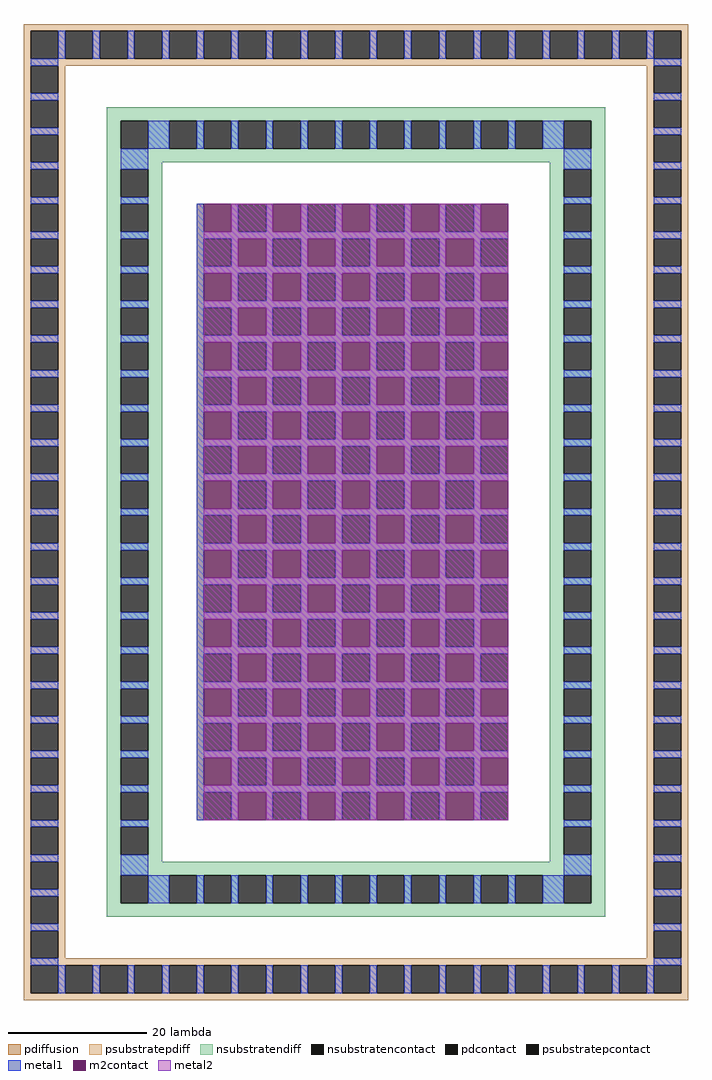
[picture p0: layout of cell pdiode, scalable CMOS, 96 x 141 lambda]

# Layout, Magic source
magic
tech scmos
<< pdiffusion >>
rect 32 102 38 106
rect 42 102 48 106
rect 52 102 58 106
rect 62 102 68 106
rect 72 102 77 106
rect 32 101 77 102
rect 32 97 33 101
rect 37 97 43 101
rect 47 97 53 101
rect 57 97 63 101
rect 67 97 73 101
rect 32 96 77 97
rect 32 92 38 96
rect 42 92 48 96
rect 52 92 58 96
rect 62 92 68 96
rect 72 92 77 96
rect 32 91 77 92
rect 32 87 33 91
rect 37 87 43 91
rect 47 87 53 91
rect 57 87 63 91
rect 67 87 73 91
rect 32 86 77 87
rect 32 82 38 86
rect 42 82 48 86
rect 52 82 58 86
rect 62 82 68 86
rect 72 82 77 86
rect 32 81 77 82
rect 32 77 33 81
rect 37 77 43 81
rect 47 77 53 81
rect 57 77 63 81
rect 67 77 73 81
rect 32 76 77 77
rect 32 72 38 76
rect 42 72 48 76
rect 52 72 58 76
rect 62 72 68 76
rect 72 72 77 76
rect 32 71 77 72
rect 32 67 33 71
rect 37 67 43 71
rect 47 67 53 71
rect 57 67 63 71
rect 67 67 73 71
rect 32 66 77 67
rect 32 62 38 66
rect 42 62 48 66
rect 52 62 58 66
rect 62 62 68 66
rect 72 62 77 66
rect 32 61 77 62
rect 32 57 33 61
rect 37 57 43 61
rect 47 57 53 61
rect 57 57 63 61
rect 67 57 73 61
rect 32 56 77 57
rect 32 52 38 56
rect 42 52 48 56
rect 52 52 58 56
rect 62 52 68 56
rect 72 52 77 56
rect 32 51 77 52
rect 32 47 33 51
rect 37 47 43 51
rect 47 47 53 51
rect 57 47 63 51
rect 67 47 73 51
rect 32 46 77 47
rect 32 42 38 46
rect 42 42 48 46
rect 52 42 58 46
rect 62 42 68 46
rect 72 42 77 46
rect 32 41 77 42
rect 32 37 33 41
rect 37 37 43 41
rect 47 37 53 41
rect 57 37 63 41
rect 67 37 73 41
rect 32 36 77 37
rect 32 32 38 36
rect 42 32 48 36
rect 52 32 58 36
rect 62 32 68 36
rect 72 32 77 36
rect 32 31 77 32
rect 32 27 33 31
rect 37 27 43 31
rect 47 27 53 31
rect 57 27 63 31
rect 67 27 73 31
rect 32 26 77 27
rect 32 22 38 26
rect 42 22 48 26
rect 52 22 58 26
rect 62 22 68 26
rect 72 22 77 26
rect 32 21 77 22
rect 32 17 33 21
rect 37 17 43 21
rect 47 17 53 21
rect 57 17 63 21
rect 67 17 73 21
<< pdcontact >>
rect 38 102 42 106
rect 48 102 52 106
rect 58 102 62 106
rect 68 102 72 106
rect 33 97 37 101
rect 43 97 47 101
rect 53 97 57 101
rect 63 97 67 101
rect 73 97 77 101
rect 38 92 42 96
rect 48 92 52 96
rect 58 92 62 96
rect 68 92 72 96
rect 33 87 37 91
rect 43 87 47 91
rect 53 87 57 91
rect 63 87 67 91
rect 73 87 77 91
rect 38 82 42 86
rect 48 82 52 86
rect 58 82 62 86
rect 68 82 72 86
rect 33 77 37 81
rect 43 77 47 81
rect 53 77 57 81
rect 63 77 67 81
rect 73 77 77 81
rect 38 72 42 76
rect 48 72 52 76
rect 58 72 62 76
rect 68 72 72 76
rect 33 67 37 71
rect 43 67 47 71
rect 53 67 57 71
rect 63 67 67 71
rect 73 67 77 71
rect 38 62 42 66
rect 48 62 52 66
rect 58 62 62 66
rect 68 62 72 66
rect 33 57 37 61
rect 43 57 47 61
rect 53 57 57 61
rect 63 57 67 61
rect 73 57 77 61
rect 38 52 42 56
rect 48 52 52 56
rect 58 52 62 56
rect 68 52 72 56
rect 33 47 37 51
rect 43 47 47 51
rect 53 47 57 51
rect 63 47 67 51
rect 73 47 77 51
rect 38 42 42 46
rect 48 42 52 46
rect 58 42 62 46
rect 68 42 72 46
rect 33 37 37 41
rect 43 37 47 41
rect 53 37 57 41
rect 63 37 67 41
rect 73 37 77 41
rect 38 32 42 36
rect 48 32 52 36
rect 58 32 62 36
rect 68 32 72 36
rect 33 27 37 31
rect 43 27 47 31
rect 53 27 57 31
rect 63 27 67 31
rect 73 27 77 31
rect 38 22 42 26
rect 48 22 52 26
rect 58 22 62 26
rect 68 22 72 26
rect 33 17 37 21
rect 43 17 47 21
rect 53 17 57 21
rect 63 17 67 21
rect 73 17 77 21
<< psubstratepdiff >>
rect 7 131 103 132
rect 7 127 8 131
rect 12 127 13 131
rect 17 127 18 131
rect 22 127 23 131
rect 27 127 28 131
rect 32 127 33 131
rect 37 127 38 131
rect 42 127 43 131
rect 47 127 48 131
rect 52 127 53 131
rect 57 127 58 131
rect 62 127 63 131
rect 67 127 68 131
rect 72 127 73 131
rect 77 127 78 131
rect 82 127 83 131
rect 87 127 88 131
rect 92 127 93 131
rect 97 127 98 131
rect 102 127 103 131
rect 7 126 103 127
rect 7 122 8 126
rect 12 122 13 126
rect 7 121 13 122
rect 7 117 8 121
rect 12 117 13 121
rect 97 122 98 126
rect 102 122 103 126
rect 97 121 103 122
rect 7 116 13 117
rect 7 112 8 116
rect 12 112 13 116
rect 7 111 13 112
rect 7 107 8 111
rect 12 107 13 111
rect 7 106 13 107
rect 7 102 8 106
rect 12 102 13 106
rect 7 101 13 102
rect 7 97 8 101
rect 12 97 13 101
rect 7 96 13 97
rect 7 92 8 96
rect 12 92 13 96
rect 7 91 13 92
rect 7 87 8 91
rect 12 87 13 91
rect 7 86 13 87
rect 7 82 8 86
rect 12 82 13 86
rect 7 81 13 82
rect 7 77 8 81
rect 12 77 13 81
rect 7 76 13 77
rect 7 72 8 76
rect 12 72 13 76
rect 7 71 13 72
rect 7 67 8 71
rect 12 67 13 71
rect 7 66 13 67
rect 7 62 8 66
rect 12 62 13 66
rect 7 61 13 62
rect 7 57 8 61
rect 12 57 13 61
rect 7 56 13 57
rect 7 52 8 56
rect 12 52 13 56
rect 7 51 13 52
rect 7 47 8 51
rect 12 47 13 51
rect 7 46 13 47
rect 7 42 8 46
rect 12 42 13 46
rect 7 41 13 42
rect 7 37 8 41
rect 12 37 13 41
rect 7 36 13 37
rect 7 32 8 36
rect 12 32 13 36
rect 7 31 13 32
rect 7 27 8 31
rect 12 27 13 31
rect 7 26 13 27
rect 7 22 8 26
rect 12 22 13 26
rect 7 21 13 22
rect 7 17 8 21
rect 12 17 13 21
rect 7 16 13 17
rect 7 12 8 16
rect 12 12 13 16
rect 7 11 13 12
rect 7 7 8 11
rect 12 7 13 11
rect 7 6 13 7
rect 7 2 8 6
rect 12 2 13 6
rect 97 117 98 121
rect 102 117 103 121
rect 97 116 103 117
rect 97 112 98 116
rect 102 112 103 116
rect 97 111 103 112
rect 97 107 98 111
rect 102 107 103 111
rect 97 106 103 107
rect 97 102 98 106
rect 102 102 103 106
rect 97 101 103 102
rect 97 97 98 101
rect 102 97 103 101
rect 97 96 103 97
rect 97 92 98 96
rect 102 92 103 96
rect 97 91 103 92
rect 97 87 98 91
rect 102 87 103 91
rect 97 86 103 87
rect 97 82 98 86
rect 102 82 103 86
rect 97 81 103 82
rect 97 77 98 81
rect 102 77 103 81
rect 97 76 103 77
rect 97 72 98 76
rect 102 72 103 76
rect 97 71 103 72
rect 97 67 98 71
rect 102 67 103 71
rect 97 66 103 67
rect 97 62 98 66
rect 102 62 103 66
rect 97 61 103 62
rect 97 57 98 61
rect 102 57 103 61
rect 97 56 103 57
rect 97 52 98 56
rect 102 52 103 56
rect 97 51 103 52
rect 97 47 98 51
rect 102 47 103 51
rect 97 46 103 47
rect 97 42 98 46
rect 102 42 103 46
rect 97 41 103 42
rect 97 37 98 41
rect 102 37 103 41
rect 97 36 103 37
rect 97 32 98 36
rect 102 32 103 36
rect 97 31 103 32
rect 97 27 98 31
rect 102 27 103 31
rect 97 26 103 27
rect 97 22 98 26
rect 102 22 103 26
rect 97 21 103 22
rect 97 17 98 21
rect 102 17 103 21
rect 97 16 103 17
rect 97 12 98 16
rect 102 12 103 16
rect 97 11 103 12
rect 97 7 98 11
rect 102 7 103 11
rect 97 6 103 7
rect 7 1 13 2
rect 7 -3 8 1
rect 12 -3 13 1
rect 97 2 98 6
rect 102 2 103 6
rect 97 1 103 2
rect 97 -3 98 1
rect 102 -3 103 1
rect 7 -4 103 -3
rect 7 -8 8 -4
rect 12 -8 13 -4
rect 17 -8 18 -4
rect 22 -8 23 -4
rect 27 -8 28 -4
rect 32 -8 33 -4
rect 37 -8 38 -4
rect 42 -8 43 -4
rect 47 -8 48 -4
rect 52 -8 53 -4
rect 57 -8 58 -4
rect 62 -8 63 -4
rect 67 -8 68 -4
rect 72 -8 73 -4
rect 77 -8 78 -4
rect 82 -8 83 -4
rect 87 -8 88 -4
rect 92 -8 93 -4
rect 97 -8 98 -4
rect 102 -8 103 -4
rect 7 -9 103 -8
<< nsubstratendiff >>
rect 19 118 91 120
rect 19 114 21 118
rect 25 114 28 118
rect 32 114 33 118
rect 37 114 38 118
rect 42 114 43 118
rect 47 114 48 118
rect 52 114 53 118
rect 57 114 58 118
rect 62 114 63 118
rect 67 114 68 118
rect 72 114 73 118
rect 77 114 78 118
rect 82 114 85 118
rect 89 114 91 118
rect 19 112 91 114
rect 19 111 27 112
rect 19 107 21 111
rect 25 107 27 111
rect 19 106 27 107
rect 83 111 91 112
rect 83 107 85 111
rect 89 107 91 111
rect 83 106 91 107
rect 19 102 21 106
rect 25 102 27 106
rect 19 101 27 102
rect 19 97 21 101
rect 25 97 27 101
rect 19 96 27 97
rect 19 92 21 96
rect 25 92 27 96
rect 19 91 27 92
rect 19 87 21 91
rect 25 87 27 91
rect 19 86 27 87
rect 19 82 21 86
rect 25 82 27 86
rect 19 81 27 82
rect 19 77 21 81
rect 25 77 27 81
rect 19 76 27 77
rect 19 72 21 76
rect 25 72 27 76
rect 19 71 27 72
rect 19 67 21 71
rect 25 67 27 71
rect 19 66 27 67
rect 19 62 21 66
rect 25 62 27 66
rect 19 61 27 62
rect 19 57 21 61
rect 25 57 27 61
rect 19 56 27 57
rect 19 52 21 56
rect 25 52 27 56
rect 19 51 27 52
rect 19 47 21 51
rect 25 47 27 51
rect 19 46 27 47
rect 19 42 21 46
rect 25 42 27 46
rect 19 41 27 42
rect 19 37 21 41
rect 25 37 27 41
rect 19 36 27 37
rect 19 32 21 36
rect 25 32 27 36
rect 19 31 27 32
rect 19 27 21 31
rect 25 27 27 31
rect 19 26 27 27
rect 19 22 21 26
rect 25 22 27 26
rect 19 21 27 22
rect 19 17 21 21
rect 25 17 27 21
rect 83 102 85 106
rect 89 102 91 106
rect 83 101 91 102
rect 83 97 85 101
rect 89 97 91 101
rect 83 96 91 97
rect 83 92 85 96
rect 89 92 91 96
rect 83 91 91 92
rect 83 87 85 91
rect 89 87 91 91
rect 83 86 91 87
rect 83 82 85 86
rect 89 82 91 86
rect 83 81 91 82
rect 83 77 85 81
rect 89 77 91 81
rect 83 76 91 77
rect 83 72 85 76
rect 89 72 91 76
rect 83 71 91 72
rect 83 67 85 71
rect 89 67 91 71
rect 83 66 91 67
rect 83 62 85 66
rect 89 62 91 66
rect 83 61 91 62
rect 83 57 85 61
rect 89 57 91 61
rect 83 56 91 57
rect 83 52 85 56
rect 89 52 91 56
rect 83 51 91 52
rect 83 47 85 51
rect 89 47 91 51
rect 83 46 91 47
rect 83 42 85 46
rect 89 42 91 46
rect 83 41 91 42
rect 83 37 85 41
rect 89 37 91 41
rect 83 36 91 37
rect 83 32 85 36
rect 89 32 91 36
rect 83 31 91 32
rect 83 27 85 31
rect 89 27 91 31
rect 83 26 91 27
rect 83 22 85 26
rect 89 22 91 26
rect 83 21 91 22
rect 83 17 85 21
rect 89 17 91 21
rect 19 16 27 17
rect 19 12 21 16
rect 25 12 27 16
rect 19 11 27 12
rect 83 16 91 17
rect 83 12 85 16
rect 89 12 91 16
rect 83 11 91 12
rect 19 9 91 11
rect 19 5 21 9
rect 25 5 28 9
rect 32 5 33 9
rect 37 5 38 9
rect 42 5 43 9
rect 47 5 48 9
rect 52 5 53 9
rect 57 5 58 9
rect 62 5 63 9
rect 67 5 68 9
rect 72 5 73 9
rect 77 5 78 9
rect 82 5 85 9
rect 89 5 91 9
rect 19 3 91 5
<< psubstratepcontact >>
rect 8 127 12 131
rect 13 127 17 131
rect 18 127 22 131
rect 23 127 27 131
rect 28 127 32 131
rect 33 127 37 131
rect 38 127 42 131
rect 43 127 47 131
rect 48 127 52 131
rect 53 127 57 131
rect 58 127 62 131
rect 63 127 67 131
rect 68 127 72 131
rect 73 127 77 131
rect 78 127 82 131
rect 83 127 87 131
rect 88 127 92 131
rect 93 127 97 131
rect 98 127 102 131
rect 8 122 12 126
rect 8 117 12 121
rect 98 122 102 126
rect 8 112 12 116
rect 8 107 12 111
rect 8 102 12 106
rect 8 97 12 101
rect 8 92 12 96
rect 8 87 12 91
rect 8 82 12 86
rect 8 77 12 81
rect 8 72 12 76
rect 8 67 12 71
rect 8 62 12 66
rect 8 57 12 61
rect 8 52 12 56
rect 8 47 12 51
rect 8 42 12 46
rect 8 37 12 41
rect 8 32 12 36
rect 8 27 12 31
rect 8 22 12 26
rect 8 17 12 21
rect 8 12 12 16
rect 8 7 12 11
rect 8 2 12 6
rect 98 117 102 121
rect 98 112 102 116
rect 98 107 102 111
rect 98 102 102 106
rect 98 97 102 101
rect 98 92 102 96
rect 98 87 102 91
rect 98 82 102 86
rect 98 77 102 81
rect 98 72 102 76
rect 98 67 102 71
rect 98 62 102 66
rect 98 57 102 61
rect 98 52 102 56
rect 98 47 102 51
rect 98 42 102 46
rect 98 37 102 41
rect 98 32 102 36
rect 98 27 102 31
rect 98 22 102 26
rect 98 17 102 21
rect 98 12 102 16
rect 98 7 102 11
rect 8 -3 12 1
rect 98 2 102 6
rect 98 -3 102 1
rect 8 -8 12 -4
rect 13 -8 17 -4
rect 18 -8 22 -4
rect 23 -8 27 -4
rect 28 -8 32 -4
rect 33 -8 37 -4
rect 38 -8 42 -4
rect 43 -8 47 -4
rect 48 -8 52 -4
rect 53 -8 57 -4
rect 58 -8 62 -4
rect 63 -8 67 -4
rect 68 -8 72 -4
rect 73 -8 77 -4
rect 78 -8 82 -4
rect 83 -8 87 -4
rect 88 -8 92 -4
rect 93 -8 97 -4
rect 98 -8 102 -4
<< nsubstratencontact >>
rect 21 114 25 118
rect 28 114 32 118
rect 33 114 37 118
rect 38 114 42 118
rect 43 114 47 118
rect 48 114 52 118
rect 53 114 57 118
rect 58 114 62 118
rect 63 114 67 118
rect 68 114 72 118
rect 73 114 77 118
rect 78 114 82 118
rect 85 114 89 118
rect 21 107 25 111
rect 85 107 89 111
rect 21 102 25 106
rect 21 97 25 101
rect 21 92 25 96
rect 21 87 25 91
rect 21 82 25 86
rect 21 77 25 81
rect 21 72 25 76
rect 21 67 25 71
rect 21 62 25 66
rect 21 57 25 61
rect 21 52 25 56
rect 21 47 25 51
rect 21 42 25 46
rect 21 37 25 41
rect 21 32 25 36
rect 21 27 25 31
rect 21 22 25 26
rect 21 17 25 21
rect 85 102 89 106
rect 85 97 89 101
rect 85 92 89 96
rect 85 87 89 91
rect 85 82 89 86
rect 85 77 89 81
rect 85 72 89 76
rect 85 67 89 71
rect 85 62 89 66
rect 85 57 89 61
rect 85 52 89 56
rect 85 47 89 51
rect 85 42 89 46
rect 85 37 89 41
rect 85 32 89 36
rect 85 27 89 31
rect 85 22 89 26
rect 85 17 89 21
rect 21 12 25 16
rect 85 12 89 16
rect 21 5 25 9
rect 28 5 32 9
rect 33 5 37 9
rect 38 5 42 9
rect 43 5 47 9
rect 48 5 52 9
rect 53 5 57 9
rect 58 5 62 9
rect 63 5 67 9
rect 68 5 72 9
rect 73 5 77 9
rect 78 5 82 9
rect 85 5 89 9
<< metal1 >>
rect 12 127 13 131
rect 17 127 18 131
rect 22 127 23 131
rect 27 127 28 131
rect 32 127 33 131
rect 37 127 38 131
rect 42 127 43 131
rect 47 127 48 131
rect 52 127 53 131
rect 57 127 58 131
rect 62 127 63 131
rect 67 127 68 131
rect 72 127 73 131
rect 77 127 78 131
rect 82 127 83 131
rect 87 127 88 131
rect 92 127 93 131
rect 97 127 98 131
rect 8 126 12 127
rect 8 121 12 122
rect 98 126 102 127
rect 98 121 102 122
rect 8 116 12 117
rect 8 111 12 112
rect 8 106 12 107
rect 8 101 12 102
rect 8 96 12 97
rect 8 91 12 92
rect 8 86 12 87
rect 8 81 12 82
rect 8 76 12 77
rect 8 71 12 72
rect 8 66 12 67
rect 8 61 12 62
rect 8 56 12 57
rect 8 51 12 52
rect 8 46 12 47
rect 8 41 12 42
rect 8 36 12 37
rect 8 31 12 32
rect 8 26 12 27
rect 8 21 12 22
rect 8 16 12 17
rect 8 11 12 12
rect 8 6 12 7
rect 25 114 28 118
rect 32 114 33 118
rect 37 114 38 118
rect 42 114 43 118
rect 47 114 48 118
rect 52 114 53 118
rect 57 114 58 118
rect 62 114 63 118
rect 67 114 68 118
rect 72 114 73 118
rect 77 114 78 118
rect 82 114 85 118
rect 21 111 25 114
rect 21 106 25 107
rect 85 111 89 114
rect 85 106 89 107
rect 21 101 25 102
rect 21 96 25 97
rect 21 91 25 92
rect 21 86 25 87
rect 21 81 25 82
rect 21 76 25 77
rect 21 71 25 72
rect 21 66 25 67
rect 21 61 25 62
rect 21 56 25 57
rect 21 51 25 52
rect 21 46 25 47
rect 21 41 25 42
rect 21 36 25 37
rect 21 31 25 32
rect 21 26 25 27
rect 21 21 25 22
rect 32 102 33 106
rect 37 102 38 106
rect 42 102 43 106
rect 47 102 48 106
rect 52 102 53 106
rect 57 102 58 106
rect 62 102 63 106
rect 67 102 68 106
rect 72 102 73 106
rect 32 101 77 102
rect 32 97 33 101
rect 37 97 38 101
rect 42 97 43 101
rect 47 97 48 101
rect 52 97 53 101
rect 57 97 58 101
rect 62 97 63 101
rect 67 97 68 101
rect 72 97 73 101
rect 32 96 77 97
rect 32 92 33 96
rect 37 92 38 96
rect 42 92 43 96
rect 47 92 48 96
rect 52 92 53 96
rect 57 92 58 96
rect 62 92 63 96
rect 67 92 68 96
rect 72 92 73 96
rect 32 91 77 92
rect 32 87 33 91
rect 37 87 38 91
rect 42 87 43 91
rect 47 87 48 91
rect 52 87 53 91
rect 57 87 58 91
rect 62 87 63 91
rect 67 87 68 91
rect 72 87 73 91
rect 32 86 77 87
rect 32 82 33 86
rect 37 82 38 86
rect 42 82 43 86
rect 47 82 48 86
rect 52 82 53 86
rect 57 82 58 86
rect 62 82 63 86
rect 67 82 68 86
rect 72 82 73 86
rect 32 81 77 82
rect 32 77 33 81
rect 37 77 38 81
rect 42 77 43 81
rect 47 77 48 81
rect 52 77 53 81
rect 57 77 58 81
rect 62 77 63 81
rect 67 77 68 81
rect 72 77 73 81
rect 32 76 77 77
rect 32 72 33 76
rect 37 72 38 76
rect 42 72 43 76
rect 47 72 48 76
rect 52 72 53 76
rect 57 72 58 76
rect 62 72 63 76
rect 67 72 68 76
rect 72 72 73 76
rect 32 71 77 72
rect 32 67 33 71
rect 37 67 38 71
rect 42 67 43 71
rect 47 67 48 71
rect 52 67 53 71
rect 57 67 58 71
rect 62 67 63 71
rect 67 67 68 71
rect 72 67 73 71
rect 32 66 77 67
rect 32 62 33 66
rect 37 62 38 66
rect 42 62 43 66
rect 47 62 48 66
rect 52 62 53 66
rect 57 62 58 66
rect 62 62 63 66
rect 67 62 68 66
rect 72 62 73 66
rect 32 61 77 62
rect 32 57 33 61
rect 37 57 38 61
rect 42 57 43 61
rect 47 57 48 61
rect 52 57 53 61
rect 57 57 58 61
rect 62 57 63 61
rect 67 57 68 61
rect 72 57 73 61
rect 32 56 77 57
rect 32 52 33 56
rect 37 52 38 56
rect 42 52 43 56
rect 47 52 48 56
rect 52 52 53 56
rect 57 52 58 56
rect 62 52 63 56
rect 67 52 68 56
rect 72 52 73 56
rect 32 51 77 52
rect 32 47 33 51
rect 37 47 38 51
rect 42 47 43 51
rect 47 47 48 51
rect 52 47 53 51
rect 57 47 58 51
rect 62 47 63 51
rect 67 47 68 51
rect 72 47 73 51
rect 32 46 77 47
rect 32 42 33 46
rect 37 42 38 46
rect 42 42 43 46
rect 47 42 48 46
rect 52 42 53 46
rect 57 42 58 46
rect 62 42 63 46
rect 67 42 68 46
rect 72 42 73 46
rect 32 41 77 42
rect 32 37 33 41
rect 37 37 38 41
rect 42 37 43 41
rect 47 37 48 41
rect 52 37 53 41
rect 57 37 58 41
rect 62 37 63 41
rect 67 37 68 41
rect 72 37 73 41
rect 32 36 77 37
rect 32 32 33 36
rect 37 32 38 36
rect 42 32 43 36
rect 47 32 48 36
rect 52 32 53 36
rect 57 32 58 36
rect 62 32 63 36
rect 67 32 68 36
rect 72 32 73 36
rect 32 31 77 32
rect 32 27 33 31
rect 37 27 38 31
rect 42 27 43 31
rect 47 27 48 31
rect 52 27 53 31
rect 57 27 58 31
rect 62 27 63 31
rect 67 27 68 31
rect 72 27 73 31
rect 32 26 77 27
rect 32 22 33 26
rect 37 22 38 26
rect 42 22 43 26
rect 47 22 48 26
rect 52 22 53 26
rect 57 22 58 26
rect 62 22 63 26
rect 67 22 68 26
rect 72 22 73 26
rect 32 21 77 22
rect 32 17 33 21
rect 37 17 38 21
rect 42 17 43 21
rect 47 17 48 21
rect 52 17 53 21
rect 57 17 58 21
rect 62 17 63 21
rect 67 17 68 21
rect 72 17 73 21
rect 85 101 89 102
rect 85 96 89 97
rect 85 91 89 92
rect 85 86 89 87
rect 85 81 89 82
rect 85 76 89 77
rect 85 71 89 72
rect 85 66 89 67
rect 85 61 89 62
rect 85 56 89 57
rect 85 51 89 52
rect 85 46 89 47
rect 85 41 89 42
rect 85 36 89 37
rect 85 31 89 32
rect 85 26 89 27
rect 85 21 89 22
rect 21 16 25 17
rect 21 9 25 12
rect 85 16 89 17
rect 85 9 89 12
rect 25 5 28 9
rect 32 5 33 9
rect 37 5 38 9
rect 42 5 43 9
rect 47 5 48 9
rect 52 5 53 9
rect 57 5 58 9
rect 62 5 63 9
rect 67 5 68 9
rect 72 5 73 9
rect 77 5 78 9
rect 82 5 85 9
rect 98 116 102 117
rect 98 111 102 112
rect 98 106 102 107
rect 98 101 102 102
rect 98 96 102 97
rect 98 91 102 92
rect 98 86 102 87
rect 98 81 102 82
rect 98 76 102 77
rect 98 71 102 72
rect 98 66 102 67
rect 98 61 102 62
rect 98 56 102 57
rect 98 51 102 52
rect 98 46 102 47
rect 98 41 102 42
rect 98 36 102 37
rect 98 31 102 32
rect 98 26 102 27
rect 98 21 102 22
rect 98 16 102 17
rect 98 11 102 12
rect 98 6 102 7
rect 8 1 12 2
rect 8 -4 12 -3
rect 98 1 102 2
rect 98 -4 102 -3
rect 12 -8 13 -4
rect 17 -8 18 -4
rect 22 -8 23 -4
rect 27 -8 28 -4
rect 32 -8 33 -4
rect 37 -8 38 -4
rect 42 -8 43 -4
rect 47 -8 48 -4
rect 52 -8 53 -4
rect 57 -8 58 -4
rect 62 -8 63 -4
rect 67 -8 68 -4
rect 72 -8 73 -4
rect 77 -8 78 -4
rect 82 -8 83 -4
rect 87 -8 88 -4
rect 92 -8 93 -4
rect 97 -8 98 -4
<< m2contact >>
rect 33 102 37 106
rect 43 102 47 106
rect 53 102 57 106
rect 63 102 67 106
rect 73 102 77 106
rect 38 97 42 101
rect 48 97 52 101
rect 58 97 62 101
rect 68 97 72 101
rect 33 92 37 96
rect 43 92 47 96
rect 53 92 57 96
rect 63 92 67 96
rect 73 92 77 96
rect 38 87 42 91
rect 48 87 52 91
rect 58 87 62 91
rect 68 87 72 91
rect 33 82 37 86
rect 43 82 47 86
rect 53 82 57 86
rect 63 82 67 86
rect 73 82 77 86
rect 38 77 42 81
rect 48 77 52 81
rect 58 77 62 81
rect 68 77 72 81
rect 33 72 37 76
rect 43 72 47 76
rect 53 72 57 76
rect 63 72 67 76
rect 73 72 77 76
rect 38 67 42 71
rect 48 67 52 71
rect 58 67 62 71
rect 68 67 72 71
rect 33 62 37 66
rect 43 62 47 66
rect 53 62 57 66
rect 63 62 67 66
rect 73 62 77 66
rect 38 57 42 61
rect 48 57 52 61
rect 58 57 62 61
rect 68 57 72 61
rect 33 52 37 56
rect 43 52 47 56
rect 53 52 57 56
rect 63 52 67 56
rect 73 52 77 56
rect 38 47 42 51
rect 48 47 52 51
rect 58 47 62 51
rect 68 47 72 51
rect 33 42 37 46
rect 43 42 47 46
rect 53 42 57 46
rect 63 42 67 46
rect 73 42 77 46
rect 38 37 42 41
rect 48 37 52 41
rect 58 37 62 41
rect 68 37 72 41
rect 33 32 37 36
rect 43 32 47 36
rect 53 32 57 36
rect 63 32 67 36
rect 73 32 77 36
rect 38 27 42 31
rect 48 27 52 31
rect 58 27 62 31
rect 68 27 72 31
rect 33 22 37 26
rect 43 22 47 26
rect 53 22 57 26
rect 63 22 67 26
rect 73 22 77 26
rect 38 17 42 21
rect 48 17 52 21
rect 58 17 62 21
rect 68 17 72 21
<< metal2 >>
rect 37 102 43 106
rect 47 102 53 106
rect 57 102 63 106
rect 67 102 73 106
rect 33 101 77 102
rect 33 97 38 101
rect 42 97 48 101
rect 52 97 58 101
rect 62 97 68 101
rect 72 97 77 101
rect 33 96 77 97
rect 37 92 43 96
rect 47 92 53 96
rect 57 92 63 96
rect 67 92 73 96
rect 33 91 77 92
rect 33 87 38 91
rect 42 87 48 91
rect 52 87 58 91
rect 62 87 68 91
rect 72 87 77 91
rect 33 86 77 87
rect 37 82 43 86
rect 47 82 53 86
rect 57 82 63 86
rect 67 82 73 86
rect 33 81 77 82
rect 33 77 38 81
rect 42 77 48 81
rect 52 77 58 81
rect 62 77 68 81
rect 72 77 77 81
rect 33 76 77 77
rect 37 72 43 76
rect 47 72 53 76
rect 57 72 63 76
rect 67 72 73 76
rect 33 71 77 72
rect 33 67 38 71
rect 42 67 48 71
rect 52 67 58 71
rect 62 67 68 71
rect 72 67 77 71
rect 33 66 77 67
rect 37 62 43 66
rect 47 62 53 66
rect 57 62 63 66
rect 67 62 73 66
rect 33 61 77 62
rect 33 57 38 61
rect 42 57 48 61
rect 52 57 58 61
rect 62 57 68 61
rect 72 57 77 61
rect 33 56 77 57
rect 37 52 43 56
rect 47 52 53 56
rect 57 52 63 56
rect 67 52 73 56
rect 33 51 77 52
rect 33 47 38 51
rect 42 47 48 51
rect 52 47 58 51
rect 62 47 68 51
rect 72 47 77 51
rect 33 46 77 47
rect 37 42 43 46
rect 47 42 53 46
rect 57 42 63 46
rect 67 42 73 46
rect 33 41 77 42
rect 33 37 38 41
rect 42 37 48 41
rect 52 37 58 41
rect 62 37 68 41
rect 72 37 77 41
rect 33 36 77 37
rect 37 32 43 36
rect 47 32 53 36
rect 57 32 63 36
rect 67 32 73 36
rect 33 31 77 32
rect 33 27 38 31
rect 42 27 48 31
rect 52 27 58 31
rect 62 27 68 31
rect 72 27 77 31
rect 33 26 77 27
rect 37 22 43 26
rect 47 22 53 26
rect 57 22 63 26
rect 67 22 73 26
rect 33 21 77 22
rect 33 17 38 21
rect 42 17 48 21
rect 52 17 58 21
rect 62 17 68 21
rect 72 17 77 21
<< end >>
